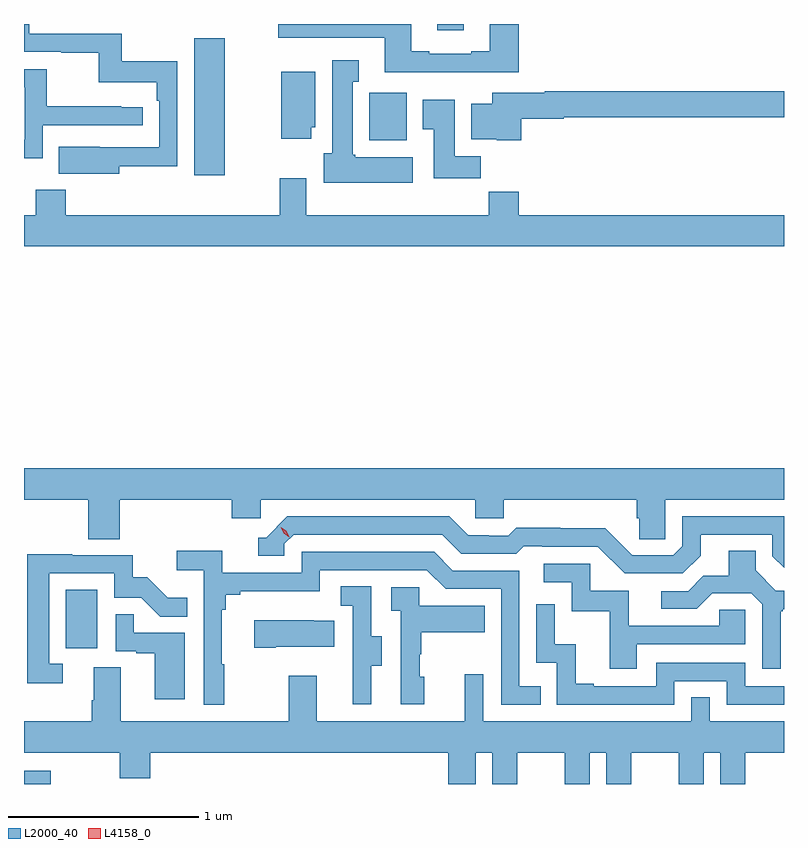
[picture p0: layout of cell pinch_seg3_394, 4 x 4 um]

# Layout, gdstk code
import gdstk
lib = gdstk.Library(unit=1e-6, precision=1e-09)
def R(c, l, rs):  # rectangles x0, y0, x1, y1
    for r in rs: c.add(gdstk.rectangle(r[:2], r[2:], *l))
def P(c, l, *ps):  # polygons
    for p in ps: c.add(gdstk.Polygon(p, *l))
L2000_40 = (2000, 40)
L4158_0 = (4158, 0)

pinch_seg3_394 = lib.new_cell('pinch_seg3_394')
R(pinch_seg3_394, L2000_40, [(902.139,704.747,902.281,704.817), (902.36,705.462,902.524,705.769), (903.035,707.952,903.196,708.673), (903.957,708.134,904.153,708.384), (904.313,708.714,904.453,708.747)])
P(pinch_seg3_394, L2000_40, [(902.641,707.998),(902.946,707.998),(902.946,708.55),(902.653,708.55),(902.653,708.696),(902.166,708.696),(902.166,708.747),(902.139,708.747),(902.139,708.6),(902.335,708.6),(902.335,708.595),(902.532,708.595),(902.532,708.44),(902.837,708.44),(902.837,708.344),(902.85,708.344),(902.85,708.099),(902.537,708.099),(902.537,708.1),(902.323,708.1),(902.323,707.96),(902.641,707.96)],
  [(904.742,708.747),(904.589,708.747),(904.589,708.604),(904.493,708.604),(904.493,708.591),(904.273,708.591),(904.273,708.604),(904.177,708.604),(904.177,708.747),(903.477,708.747),(903.477,708.675),(904.037,708.675),(904.037,708.494),(904.742,708.494)],
  [(904.186,708.046),(903.882,708.046),(903.882,708.06),(903.868,708.06),(903.868,708.443),(903.901,708.443),(903.901,708.556),(903.761,708.556),(903.761,708.066),(903.716,708.066),(903.716,707.912),(904.186,707.912)],
  [(902.238,708.213),(902.764,708.213),(902.764,708.309),(902.651,708.309),(902.651,708.314),(902.258,708.314),(902.258,708.51),(902.139,708.51),(902.139,708.414),(902.142,708.414),(902.142,708.138),(902.139,708.138),(902.139,708.041),(902.238,708.041)],
  [(903.652,708.204),(903.673,708.204),(903.673,708.496),(903.494,708.496),(903.494,708.144),(903.652,708.144)],
  [(904.757,708.248),(904.98,708.248),(904.98,708.256),(906.139,708.256),(906.139,708.392),(904.88,708.392),(904.88,708.385),(904.604,708.385),(904.604,708.328),(904.493,708.328),(904.493,708.14),(904.626,708.14),(904.626,708.134),(904.757,708.134)],
  [(904.544,708.052),(904.405,708.052),(904.405,708.349),(904.238,708.349),(904.238,708.193),(904.295,708.193),(904.295,707.934),(904.544,707.934)],
  [(906.139,707.74),(904.742,707.74),(904.742,707.864),(904.585,707.864),(904.585,707.74),(903.625,707.74),(903.625,707.935),(903.485,707.935),(903.485,707.74),(902.36,707.74),(902.36,707.875),(902.2,707.875),(902.2,707.74),(902.139,707.74),(902.139,707.576),(906.139,707.576)],
  [(902.642,706.244),(903.233,706.244),(903.233,706.146),(903.384,706.146),(903.384,706.244),(904.515,706.244),(904.515,706.146),(904.665,706.146),(904.665,706.244),(905.363,706.244),(905.363,706.146),(905.377,706.146),(905.377,706.036),(905.514,706.036),(905.514,706.244),(906.139,706.244),(906.139,706.408),(902.139,706.408),(902.139,706.244),(902.477,706.244),(902.477,706.036),(902.642,706.036)],
  [(905.701,705.949),(905.701,706.059),(906.078,706.059),(906.078,705.945),(906.139,705.884),(906.139,706.155),(905.604,706.155),(905.604,705.999),(905.556,705.951),(905.34,705.951),(905.198,706.093),(904.962,706.093),(904.962,706.096),(904.729,706.096),(904.687,706.053),(904.584,706.053),(904.584,706.056),(904.477,706.056),(904.378,706.155),(903.525,706.155),(903.414,706.044),(903.371,706.044),(903.371,705.948),(903.51,705.948),(903.51,706.011),(903.558,706.059),(904.341,706.059),(904.44,705.96),(904.729,705.96),(904.768,705.999),(904.867,705.999),(904.867,705.996),(905.16,705.996),(905.301,705.855),(905.607,705.855)],
  [(906.121,705.657),(906.133,705.657),(906.133,705.668),(906.139,705.668),(906.139,705.765),(906.096,705.765),(905.989,705.872),(905.989,705.974),(905.849,705.974),(905.849,705.842),(905.714,705.842),(905.634,705.762),(905.493,705.762),(905.493,705.669),(905.68,705.669),(905.761,705.75),(905.967,705.75),(906.024,705.693),(906.024,705.354),(906.121,705.354)],
  [(903.193,705.377),(903.181,705.377),(903.181,705.665),(903.2,705.665),(903.2,705.742),(903.277,705.742),(903.277,705.761),(903.696,705.761),(903.696,705.873),(904.26,705.873),(904.359,705.774),(904.65,705.774),(904.65,705.165),(904.859,705.165),(904.859,705.261),(904.746,705.261),(904.746,705.87),(904.396,705.87),(904.297,705.969),(903.6,705.969),(903.6,705.858),(903.182,705.858),(903.182,705.974),(902.943,705.974),(902.943,705.872),(903.084,705.872),(903.084,705.165),(903.193,705.165)],
  [(902.344,705.381),(902.271,705.381),(902.271,705.855),(902.613,705.855),(902.613,705.726),(902.757,705.726),(902.855,705.628),(902.999,705.628),(902.999,705.727),(902.895,705.727),(902.788,705.834),(902.712,705.834),(902.712,705.951),(902.393,705.951),(902.393,705.956),(902.155,705.956),(902.155,705.276),(902.344,705.276)],
  [(905.365,705.483),(905.934,705.483),(905.934,705.663),(905.797,705.663),(905.797,705.579),(905.323,705.579),(905.323,705.765),(905.118,705.765),(905.118,705.906),(904.875,705.906),(904.875,705.81),(905.022,705.81),(905.022,705.657),(905.221,705.657),(905.221,705.354),(905.365,705.354)],
  [(903.967,705.37),(904.021,705.37),(904.021,705.525),(903.966,705.525),(903.966,705.788),(903.807,705.788),(903.807,705.685),(903.87,705.685),(903.87,705.381),(903.869,705.381),(903.869,705.168),(903.967,705.168)],
  [(904.246,705.312),(904.221,705.312),(904.221,705.431),(904.231,705.431),(904.231,705.545),(904.565,705.545),(904.565,705.685),(904.218,705.685),(904.218,705.783),(904.071,705.783),(904.071,705.659),(904.122,705.659),(904.122,705.168),(904.246,705.168)],
  [(905.562,705.288),(905.838,705.288),(905.838,705.165),(906.139,705.165),(906.139,705.261),(905.934,705.261),(905.934,705.384),(905.466,705.384),(905.466,705.261),(905.137,705.261),(905.137,705.274),(905.042,705.274),(905.042,705.482),(904.932,705.482),(904.932,705.694),(904.836,705.694),(904.836,705.384),(904.944,705.384),(904.944,705.165),(905.562,705.165)],
  [(902.986,705.543),(902.717,705.543),(902.717,705.641),(902.622,705.641),(902.622,705.447),(902.729,705.447),(902.729,705.435),(902.828,705.435),(902.828,705.192),(902.986,705.192)],
  [(903.463,705.47),(903.773,705.47),(903.773,705.607),(903.665,705.607),(903.665,705.61),(903.351,705.61),(903.351,705.463),(903.463,705.463)],
  [(904.46,705.076),(903.679,705.076),(903.679,705.316),(903.532,705.316),(903.532,705.076),(902.647,705.076),(902.647,705.362),(902.507,705.362),(902.507,705.188),(902.495,705.188),(902.495,705.076),(902.139,705.076),(902.139,704.912),(902.644,704.912),(902.644,704.777),(902.804,704.777),(902.804,704.912),(904.373,704.912),(904.373,704.747),(904.516,704.747),(904.516,704.912),(904.604,704.912),(904.604,704.747),(904.735,704.747),(904.735,704.912),(904.985,704.912),(904.985,704.747),(905.116,704.747),(905.116,704.912),(905.204,704.912),(905.204,704.747),(905.335,704.747),(905.335,704.912),(905.585,704.912),(905.585,704.747),(905.716,704.747),(905.716,704.912),(905.804,704.912),(905.804,704.747),(905.935,704.747),(905.935,704.912),(906.139,704.912),(906.139,705.076),(905.748,705.076),(905.748,705.203),(905.652,705.203),(905.652,705.076),(904.557,705.076),(904.557,705.325),(904.46,705.325)])
P(pinch_seg3_394, L4158_0, [(903.535,706.046),(903.505,706.066),(903.489,706.099),(903.489,706.099),(903.489,706.099),(903.52,706.079),(903.535,706.046),(903.535,706.046)])

lib.write_gds('pinch_seg3_394.gds')
